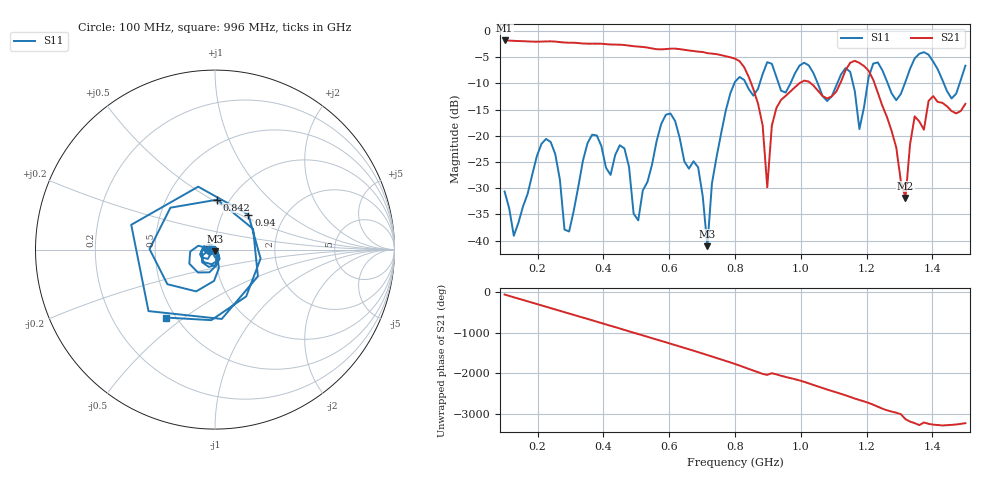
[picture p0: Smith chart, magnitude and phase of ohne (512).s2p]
! NanoVNA-App
! Date: 2025-09-25 14:24:47
! Start: 100MHz Stop: 1,5GHz Points: 101
! S-Parameter data: F S11 S21 S12 S22
# Hz S RI R 50
!  Frequency  S11_Real  S11_Imag  S21_Real  S21_Imag  S12_Real  S12_Imag  S22_Real  S22_Imag
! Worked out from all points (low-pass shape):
!   101 points, 100 MHz to 1.5 GHz, reference 50 ohm
!   highest |S21| = -1.79 dB at 100 MHz (marker M1); lowest = -31.9 dB at 1.318 GHz (marker M2)
!   |S21| within 3 dB of the highest: start of sweep to 771 MHz
!   lowest |S11| = -41.1 dB at 716 MHz (marker M3), VSWR 1.02, Z = 49.9 - j0.871 ohm
!   |S11| at or under -10 dB: start of sweep to 798 MHz; 833.2 MHz to 875.1 MHz (41.83 MHz wide, 4.9 % of centre); 1.051 GHz to 1.111 GHz (59.09 MHz wide, 5.47 % of centre) (the widest 3 of 7)
!   S12 and S22 are empty: the file has one direction only
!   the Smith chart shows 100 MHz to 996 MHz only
!   S11 on the Smith chart (normalised r, x): 100 MHz: 0.94, -0.01; 842 MHz: 0.88, +0.53; 940 MHz: 1.32, +0.56; 996 MHz: 0.44, -0.43
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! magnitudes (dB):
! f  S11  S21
! 100 MHz  -30.6  -1.8
! 128 MHz  -39.1  -1.9
! 226 MHz  -20.6  -2.0
! 296 MHz  -38.3  -2.2
! 338 MHz  -24.7  -2.4
! 464 MHz  -22.4  -2.7
! 506 MHz  -36.2  -3.0
! 576 MHz  -17.7  -3.5
! 688 MHz  -26.0  -3.9
! 716 MHz  -41.1  -4.2
! 800 MHz  -9.7  -5.3
! 842 MHz  -11.1  -8.8
! 898 MHz  -5.9  -29.8
! 940 MHz  -11.4  -13.1
! 996 MHz  -6.6  -9.9
! 1.038 GHz  -8.0  -10.4
! 1.178 GHz  -18.7  -6.1
! 1.22 GHz  -6.2  -9.3
! 1.276 GHz  -11.9  -19.1
! 1.318 GHz  -9.7  -31.9
! 1.346 GHz  -5.2  -16.3
! 1.5 GHz  -6.6  -13.9
